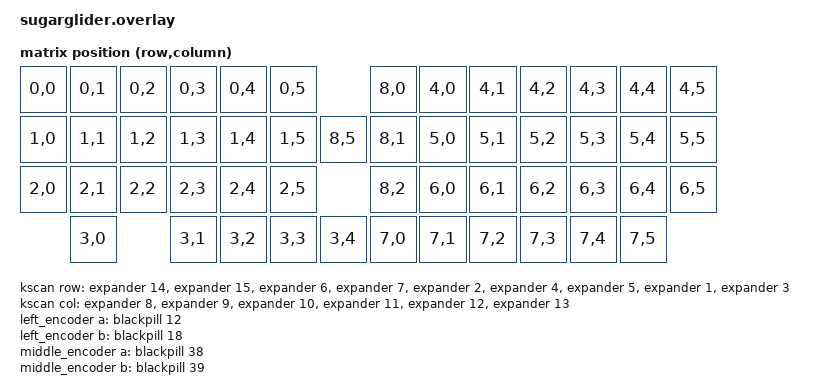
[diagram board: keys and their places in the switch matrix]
/*
 * Copyright (c) 2024 The ZMK Contributors
 *
 * SPDX-License-Identifier: MIT
 */

#include <dt-bindings/zmk/matrix_transform.h>

#include "sugarglider-layouts.dtsi"

/ {
    chosen {
        zephyr,display = &oled;
        zmk,kscan = &kscan;
        /* WIP */
        zmk,backlight = &indicator_leds;
    };

    kscan: kscan {
        compatible = "zmk,kscan-gpio-matrix";
        wakeup-source;
        diode-direction = "row2col";

        col-gpios
        = <&expander 8  (GPIO_ACTIVE_LOW | GPIO_PULL_UP)>
        , <&expander 9  (GPIO_ACTIVE_LOW | GPIO_PULL_UP)>
        , <&expander 10 (GPIO_ACTIVE_LOW | GPIO_PULL_UP)>
        , <&expander 11 (GPIO_ACTIVE_LOW | GPIO_PULL_UP)>
        , <&expander 12 (GPIO_ACTIVE_LOW | GPIO_PULL_UP)>
        , <&expander 13 (GPIO_ACTIVE_LOW | GPIO_PULL_UP)>
        ;
        row-gpios
        = <&expander 14 GPIO_ACTIVE_LOW>
        , <&expander 15 GPIO_ACTIVE_LOW>
        , <&expander 6  GPIO_ACTIVE_LOW>
        , <&expander 7  GPIO_ACTIVE_LOW>
        , <&expander 2  GPIO_ACTIVE_LOW>
        , <&expander 4  GPIO_ACTIVE_LOW>
        , <&expander 5  GPIO_ACTIVE_LOW>
        , <&expander 1  GPIO_ACTIVE_LOW>
        , <&expander 3  GPIO_ACTIVE_LOW>
        ;
    };

    default_transform: keymap_transform_0 {
        compatible = "zmk,matrix-transform";
        columns = <6>;
        rows = <9>;
        map = <
          RC(0,0)  RC(0,1)  RC(0,2)  RC(0,3)  RC(0,4)  RC(0,5)                             RC(8,0)           RC(4,0)  RC(4,1)  RC(4,2)  RC(4,3)  RC(4,4)  RC(4,5)
          RC(1,0)  RC(1,1)  RC(1,2)  RC(1,3)  RC(1,4)  RC(1,5)                    RC(8,5)  RC(8,1)           RC(5,0)  RC(5,1)  RC(5,2)  RC(5,3)  RC(5,4)  RC(5,5)
          RC(2,0)  RC(2,1)  RC(2,2)  RC(2,3)  RC(2,4)  RC(2,5)                             RC(8,2)           RC(6,0)  RC(6,1)  RC(6,2)  RC(6,3)  RC(6,4)  RC(6,5)
                   RC(3,0)           RC(3,1)  RC(3,2)  RC(3,3)           RC(3,4)  RC(7,0)  RC(7,1)           RC(7,2)  RC(7,3)  RC(7,4)           RC(7,5)
        >;
    };

    left_encoder: encoder_0 {
        compatible = "alps,ec11";
        a-gpios = <&blackpill 12 (GPIO_ACTIVE_LOW | GPIO_PULL_UP)>;
        b-gpios = <&blackpill 18 (GPIO_ACTIVE_LOW | GPIO_PULL_UP)>;
        steps = <80>;
    };

    middle_encoder: encoder_1 {
        compatible = "alps,ec11";
        a-gpios = <&blackpill 38 (GPIO_ACTIVE_LOW | GPIO_PULL_UP)>;
        b-gpios = <&blackpill 39 (GPIO_ACTIVE_LOW | GPIO_PULL_UP)>;
        steps = <80>;
    };

    horizontal_encoder: encoder_2 {
        compatible = "alps,ec11";
        a-gpios = <&blackpill 3 (GPIO_ACTIVE_LOW | GPIO_PULL_UP)>;
        b-gpios = <&blackpill 4 (GPIO_ACTIVE_LOW | GPIO_PULL_UP)>;
        steps = <80>;
    };

    right_encoder: encoder_3 {
        compatible = "alps,ec11";
        a-gpios = <&blackpill 45 (GPIO_ACTIVE_LOW | GPIO_PULL_UP)>;
        b-gpios = <&blackpill 46 (GPIO_ACTIVE_LOW | GPIO_PULL_UP)>;
        steps = <80>;
    };

    sensors: sensors {
        compatible = "zmk,keymap-sensors";
        sensors = <&left_encoder &middle_encoder &horizontal_encoder &right_encoder>;
        triggers-per-rotation = <20>;
    };

    cirque_input_listener: cirque_input_listener {
        compatible = "zmk,input-listener";
        device = <&cirque>;
    };

    indicator_leds: indicator_leds {
        compatible = "gpio-leds";
        top_led: gpio_led_0 {
            gpios = <&blackpill 25 GPIO_ACTIVE_HIGH>;
        };
        middle_led: gpio_led_1 {
            gpios = <&blackpill 26 GPIO_ACTIVE_HIGH>;
        };
        bottom_led: gpio_led_2 {
            gpios = <&blackpill 27 GPIO_ACTIVE_HIGH>;
        };
    };
};

&blackpill_spi {
    status = "okay";
    cs-gpios = <&blackpill 13 GPIO_ACTIVE_LOW>;

    cirque: pinnacle@0 {
        compatible = "cirque,pinnacle";
        reg = <0>;
        spi-max-frequency = <8000000>;
        sleep;
        dr-gpios = <&blackpill 19 GPIO_ACTIVE_HIGH>;
        sensitivity = "2x";
        y-invert;
    };
};

&blackpill_i2c {
    status = "okay";
    clock-frequency = <I2C_BITRATE_FAST>;

    expander: mcp230xx@20 {
        compatible = "microchip,mcp230xx";
        gpio-controller;
        reg = <0x20>;
        #gpio-cells = <2>;
        ngpios = <16>;

        /*
         * Note: INTA = &blackpill 11 and INTB = &blackpill 10. Zephyr currently only uses one interrupt pin.
         */
        int-gpios = <&blackpill 10 GPIO_ACTIVE_LOW>;
    };

    /omit-if-no-ref/ oled: ssd1306_0@3c {
        compatible = "solomon,ssd1306fb";
        reg = <0x3c>;
        width = <128>;
        height = <32>;
        segment-offset = <0>;
        page-offset = <0>;
        display-offset = <0>;
        multiplex-ratio = <31>;
        segment-remap;
        com-invdir;
        com-sequential;
        inversion-on;
        prechargep = <0x22>;
    };

    /omit-if-no-ref/ wide_oled: ssd1306_1@3c {
        compatible = "solomon,ssd1306fb";
        reg = <0x3c>;
        width = <128>;
        height = <64>;
        segment-offset = <0>;
        page-offset = <0>;
        display-offset = <0>;
        multiplex-ratio = <63>;
        inversion-on;
        prechargep = <0x22>;
    };
};
